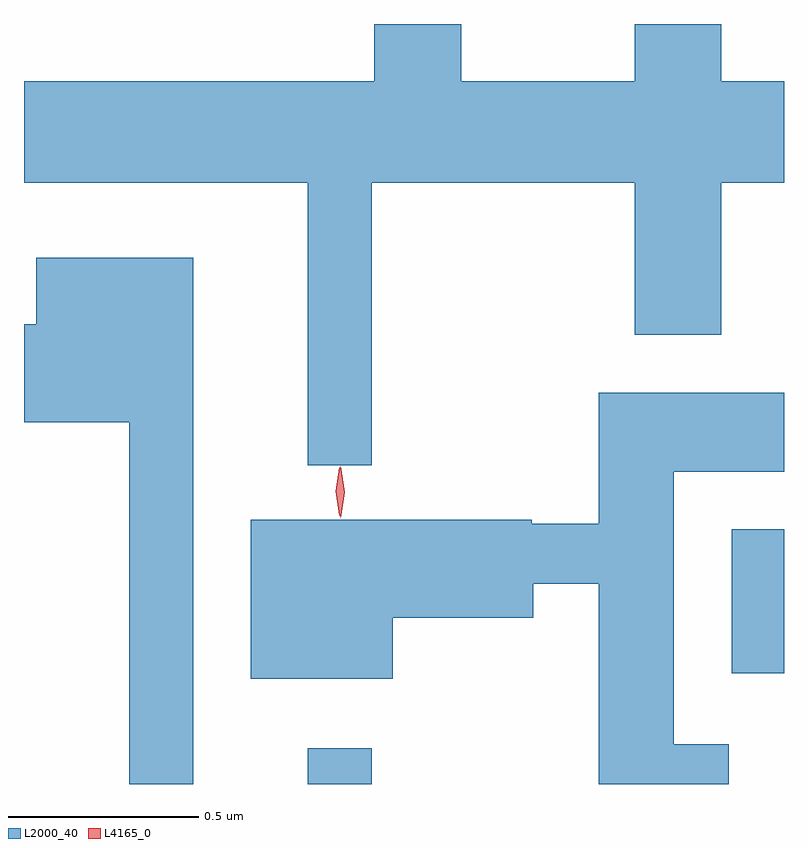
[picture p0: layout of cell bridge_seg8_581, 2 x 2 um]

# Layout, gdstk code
import gdstk
lib = gdstk.Library(unit=1e-6, precision=1e-09)
def R(c, l, rs):  # rectangles x0, y0, x1, y1
    for r in rs: c.add(gdstk.rectangle(r[:2], r[2:], *l))
def P(c, l, *ps):  # polygons
    for p in ps: c.add(gdstk.Polygon(p, *l))
L2000_40 = (2000, 40)
L4165_0 = (4165, 0)

bridge_seg8_581 = lib.new_cell('bridge_seg8_581')
R(bridge_seg8_581, L2000_40, [(566.031,1845.934,566.199,1846.028), (567.146,1846.226,567.284,1846.604)])
P(bridge_seg8_581, L2000_40, [(566.199,1847.516),(566.891,1847.516),(566.891,1847.116),(567.119,1847.116),(567.119,1847.516),(567.284,1847.516),(567.284,1847.784),(567.119,1847.784),(567.119,1847.934),(566.891,1847.934),(566.891,1847.784),(566.434,1847.784),(566.434,1847.934),(566.206,1847.934),(566.206,1847.784),(565.284,1847.784),(565.284,1847.516),(566.031,1847.516),(566.031,1846.773),(566.199,1846.773)],
  [(565.729,1847.319),(565.316,1847.319),(565.316,1847.144),(565.284,1847.144),(565.284,1846.886),(565.561,1846.886),(565.561,1845.934),(565.729,1845.934)],
  [(567.139,1846.039),(566.994,1846.039),(566.994,1846.756),(567.284,1846.756),(567.284,1846.964),(566.796,1846.964),(566.796,1846.619),(566.62,1846.619),(566.62,1846.629),(565.881,1846.629),(565.881,1846.211),(566.254,1846.211),(566.254,1846.371),(566.624,1846.371),(566.624,1846.461),(566.796,1846.461),(566.796,1845.934),(567.139,1845.934)])
P(bridge_seg8_581, L4165_0, [(566.117,1846.634),(566.107,1846.702),(566.117,1846.77),(566.118,1846.77),(566.118,1846.77),(566.128,1846.702),(566.118,1846.634),(566.118,1846.634)],
  [(566.114,1846.64),(566.114,1846.641),(566.104,1846.704),(566.114,1846.766),(566.115,1846.767),(566.115,1846.766),(566.124,1846.703),(566.115,1846.641)])

lib.write_gds('bridge_seg8_581.gds')
